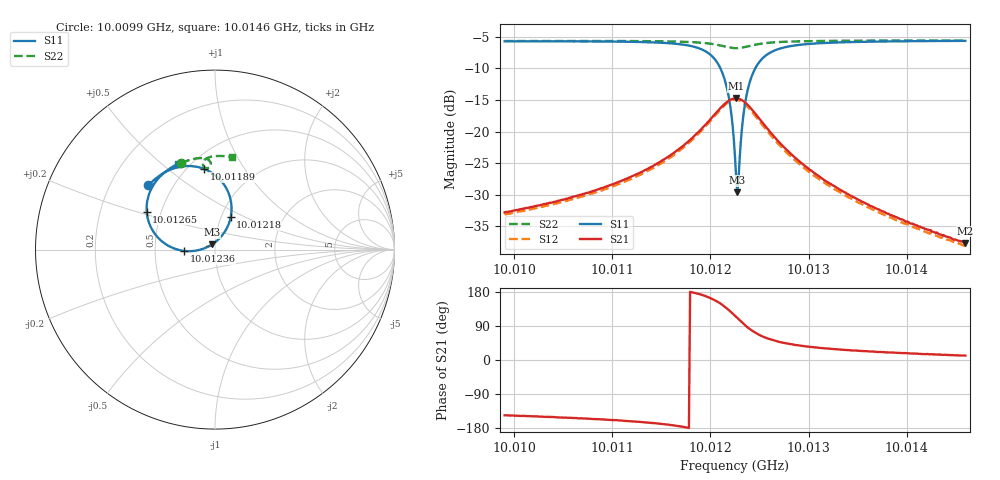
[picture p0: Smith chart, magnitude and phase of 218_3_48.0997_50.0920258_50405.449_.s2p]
#  HZ  S  RI  R  50.00
! Rohde & Schwarz Vector Network Analyzer
! Rohde-Schwarz,ZNB20-2Port,1311601062101988,3.16
! Created: UTC 12/23/2023, 3:56:28 AM
! freq[Hz]  re:S11  im:S11  re:S21  im:S21  re:S12  im:S12  re:S22  im:S22
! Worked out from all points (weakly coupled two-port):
!   401 points, 10.0099 GHz to 10.0146 GHz, reference 50 ohm
!   highest |S21| = -14.74 dB at 10.01226 GHz (marker M1); lowest = -37.6 dB at 10.0146 GHz (marker M2)
!   lowest |S11| = -29.6 dB at 10.01227 GHz (marker M3), VSWR 1.07, Z = 48.3 + j2.77 ohm
!   |S11| at or under -10 dB: 10.0121 GHz to 10.01246 GHz (356 kHz wide, 0.00356 % of centre)
!   |S22| runs from -6.8 to -5.6 dB; largest |S21 - S12| = 0.0095
!   S11 on the Smith chart (normalised r, x): 10.0099 GHz: 0.37, +0.36; 10.01189 GHz: 0.60, +0.68; 10.01218 GHz: 1.11, +0.41; 10.01236 GHz: 0.71, -0.01; 10.01265 GHz: 0.42, +0.22; 10.0146 GHz: 0.43, +0.57
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1.0009904e10  -0.3713 0.3583  -0.019 -0.0128  -0.0176 -0.0134  -0.1878 0.4833
1.001069e10  -0.3157 0.4074  -0.0286 -0.0139  -0.0268 -0.0148  -0.1373 0.5005
1.0011477e10  -0.2101 0.4581  -0.0556 -0.0119  -0.0528 -0.0144  -0.0798 0.5103
1.0011887e10  -0.0603 0.4495  -0.1001 0.0105  -0.0974 0.00517  -0.0407 0.5028
1.0012075e10  0.0641 0.3396  -0.13 0.0646  -0.1298 0.0561  -0.0241 0.4828
1.0012134e10  0.0901 0.2595  -0.1298 0.0971  -0.1311 0.0885  -0.0234 0.4716
1.0012181e10  0.0873 0.1795  -0.1193 0.1263  -0.1228 0.1177  -0.0273 0.4628
1.0012216e10  0.0644 0.1163  -0.1037 0.1473  -0.1075 0.1395  -0.033 0.4574
1.0012251e10  0.0215 0.0591  -0.0826 0.1635  -0.0857 0.1569  -0.0407 0.4541
1.0012263e10  0.0037 0.0432  -0.0742 0.1676  -0.0778 0.1611  -0.0433 0.4538
1.0012274e10  -0.0167 0.0286  -0.065 0.171  -0.0691 0.1642  -0.046 0.4535
1.0012286e10  -0.0372 0.0167  -0.056 0.1733  -0.0603 0.1667  -0.0486 0.4541
1.0012298e10  -0.0597 0.0069  -0.0466 0.1748  -0.0512 0.1684  -0.0516 0.4547
1.0012333e10  -0.1279 -0.00824  -0.0191 0.1736  -0.0241 0.1678  -0.0585 0.4584
1.0012356e10  -0.1723 -0.00732  -0.0027 0.1689  -0.00775 0.1634  -0.0621 0.4621
1.0012403e10  -0.2481 0.0152  0.0233 0.1536  0.0173 0.1488  -0.0664 0.4708
1.0012462e10  -0.3146 0.0636  0.0434 0.13  0.0379 0.126  -0.0671 0.4815
1.0012544e10  -0.3622 0.1355  0.0557 0.0996  0.0494 0.0973  -0.0624 0.4937
1.001265e10  -0.3805 0.2117  0.0567 0.0713  0.0513 0.07  -0.0532 0.504
1.0013037e10  -0.3486 0.3504  0.04 0.0272  0.0369 0.0276  -0.0182 0.5182
1.0013823e10  -0.2696 0.4389  0.0208 0.00758  0.0192 0.00842  0.0405 0.5213
1.0014598e10  -0.2078 0.4771  0.0129 0.00263  0.012 0.00311  0.0924 0.5159
